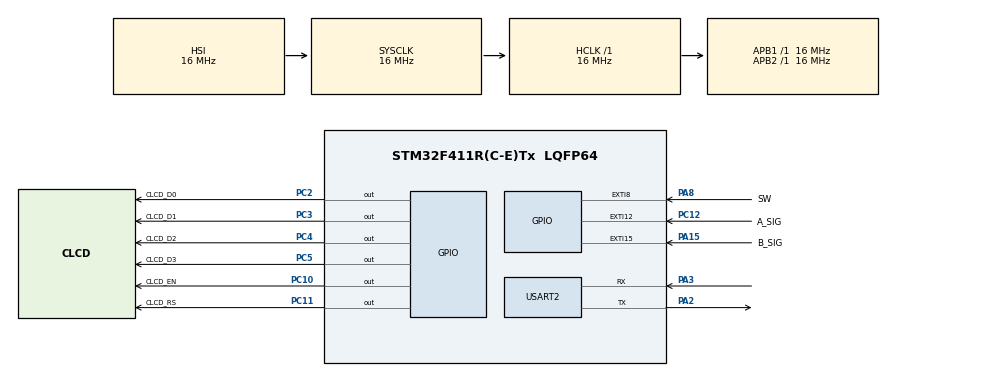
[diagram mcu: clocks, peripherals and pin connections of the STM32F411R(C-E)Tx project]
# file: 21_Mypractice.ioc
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Mcu.Family=STM32F4
Mcu.Name=STM32F411R(C-E)Tx
Mcu.Package=LQFP64
NVIC.EXTI15_10_IRQn=true\:0\:0\:false\:false\:true\:true\:true\:true
NVIC.EXTI9_5_IRQn=true\:0\:0\:false\:false\:true\:true\:true\:true
NVIC.PriorityGroup=NVIC_PRIORITYGROUP_4
PA13.Mode=Serial_Wire
PA13.Signal=SYS_JTMS-SWDIO
PA14.Mode=Serial_Wire
PA14.Signal=SYS_JTCK-SWCLK
PA15.GPIO_Label=B_SIG
PA15.GPIO_ModeDefaultEXTI=GPIO_MODE_IT_RISING
PA15.Signal=GPXTI15
PA2.Mode=Asynchronous
PA2.Signal=USART2_TX
PA3.Mode=Asynchronous
PA3.Signal=USART2_RX
PA8.GPIO_Label=SW
PA8.GPIO_ModeDefaultEXTI=GPIO_MODE_IT_FALLING
PA8.Signal=GPXTI8
PC10.GPIO_Label=CLCD_EN
PC10.Signal=GPIO_Output
PC11.GPIO_Label=CLCD_RS
PC11.Signal=GPIO_Output
PC12.GPIO_Label=A_SIG
PC12.GPIO_ModeDefaultEXTI=GPIO_MODE_IT_RISING
PC12.Signal=GPXTI12
PC2.GPIO_Label=CLCD_D0
PC2.Signal=GPIO_Output
PC3.GPIO_Label=CLCD_D1
PC3.Signal=GPIO_Output
PC4.GPIO_Label=CLCD_D2
PC4.Signal=GPIO_Output
PC5.GPIO_Label=CLCD_D3
PC5.Signal=GPIO_Output
ProjectManager.HeapSize=0x200
ProjectManager.StackSize=0x400
ProjectManager.TargetToolchain=STM32CubeIDE
RCC.AHBFreq_Value=16000000
RCC.APB1Freq_Value=16000000
RCC.APB2Freq_Value=16000000
RCC.CortexFreq_Value=16000000
RCC.HSE_VALUE=25000000
RCC.HSI_VALUE=16000000
RCC.LSE_VALUE=32768
RCC.SYSCLKFreq_VALUE=16000000
RCC.VCOOutputFreq_Value=192000000
USART2.VirtualMode=VM_ASYNC
board=custom

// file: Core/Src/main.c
/* USER CODE BEGIN Header */
/**
  ******************************************************************************
  * @file           : main.c
  * @brief          : Main program body
  ******************************************************************************
  * @attention
  *
  * Copyright (c) 2024 STMicroelectronics.
  * All rights reserved.
  *
  * This software is licensed under terms that can be found in the LICENSE file
  * in the root directory of this software component.
  * If no LICENSE file comes with this software, it is provided AS-IS.
  *
  ******************************************************************************
  */
/* USER CODE END Header */
#include "main.h"

/* USER CODE BEGIN Includes */
#include <stdio.h>
#include "clcd\clcd.h"
/* USER CODE END Includes */

UART_HandleTypeDef huart2;

/* USER CODE BEGIN PV */
char count = 0;
volatile int gEnCoderCnt;
/* USER CODE END PV */

void SystemClock_Config(void);
static void MX_GPIO_Init(void);
static void MX_USART2_UART_Init(void);

int main(void)
{

  /* MCU Configuration--------------------------------------------------------*/

  /* Reset of all peripherals, Initializes the Flash interface and the Systick. */
  HAL_Init();

  /* Configure the system clock */
  SystemClock_Config();

  /* Initialize all configured peripherals */
  MX_GPIO_Init();
  MX_USART2_UART_Init();
  /* USER CODE BEGIN 2 */
  CLCD_Init (16, 2);
  HAL_Delay (1000);
  /* USER CODE END 2 */

  /* Infinite loop */
  /* USER CODE BEGIN WHILE */
  int preEncoderCnt = 0;
  CLCD_Clear ();

  char sBuf[16] = { 0 };

  while (1)
  {
	  if (preEncoderCnt != gEnCoderCnt)
		  {
			preEncoderCnt = gEnCoderCnt;
		  }
      sprintf (sBuf, "Count Num = %3d", preEncoderCnt);
      CLCD_Puts (0, 1, sBuf);
    /* USER CODE END WHILE */

  }
}

void SystemClock_Config(void)
{
  RCC_OscInitTypeDef RCC_OscInitStruct = {0};
  RCC_ClkInitTypeDef RCC_ClkInitStruct = {0};

  /** Configure the main internal regulator output voltage
  */
  __HAL_RCC_PWR_CLK_ENABLE();
  __HAL_PWR_VOLTAGESCALING_CONFIG(PWR_REGULATOR_VOLTAGE_SCALE1);

  /** Initializes the RCC Oscillators according to the specified parameters
  * in the RCC_OscInitTypeDef structure.
  */
  RCC_OscInitStruct.OscillatorType = RCC_OSCILLATORTYPE_HSI;
  RCC_OscInitStruct.HSIState = RCC_HSI_ON;
  RCC_OscInitStruct.HSICalibrationValue = RCC_HSICALIBRATION_DEFAULT;
  RCC_OscInitStruct.PLL.PLLState = RCC_PLL_NONE;
  if (HAL_RCC_OscConfig(&RCC_OscInitStruct) != HAL_OK)
  {
    Error_Handler();
  }

  /** Initializes the CPU, AHB and APB buses clocks
  */
  RCC_ClkInitStruct.ClockType = RCC_CLOCKTYPE_HCLK|RCC_CLOCKTYPE_SYSCLK
                              |RCC_CLOCKTYPE_PCLK1|RCC_CLOCKTYPE_PCLK2;
  RCC_ClkInitStruct.SYSCLKSource = RCC_SYSCLKSOURCE_HSI;
  RCC_ClkInitStruct.AHBCLKDivider = RCC_SYSCLK_DIV1;
  RCC_ClkInitStruct.APB1CLKDivider = RCC_HCLK_DIV1;
  RCC_ClkInitStruct.APB2CLKDivider = RCC_HCLK_DIV1;

  if (HAL_RCC_ClockConfig(&RCC_ClkInitStruct, FLASH_LATENCY_0) != HAL_OK)
  {
    Error_Handler();
  }
}

static void MX_USART2_UART_Init(void)
{

  huart2.Instance = USART2;
  huart2.Init.BaudRate = 115200;
  huart2.Init.WordLength = UART_WORDLENGTH_8B;
  huart2.Init.StopBits = UART_STOPBITS_1;
  huart2.Init.Parity = UART_PARITY_NONE;
  huart2.Init.Mode = UART_MODE_TX_RX;
  huart2.Init.HwFlowCtl = UART_HWCONTROL_NONE;
  huart2.Init.OverSampling = UART_OVERSAMPLING_16;
  if (HAL_UART_Init(&huart2) != HAL_OK)
  {
    Error_Handler();
  }

}

static void MX_GPIO_Init(void)
{
  GPIO_InitTypeDef GPIO_InitStruct = {0};

  /* GPIO Ports Clock Enable */
  __HAL_RCC_GPIOC_CLK_ENABLE();
  __HAL_RCC_GPIOA_CLK_ENABLE();

  /*Configure GPIO pin Output Level */
  HAL_GPIO_WritePin(GPIOC, CLCD_D0_Pin|CLCD_D1_Pin|CLCD_D2_Pin|CLCD_D3_Pin
                          |CLCD_EN_Pin|CLCD_RS_Pin, GPIO_PIN_RESET);

  /*Configure GPIO pins : CLCD_D0_Pin CLCD_D1_Pin CLCD_D2_Pin CLCD_D3_Pin
                           CLCD_EN_Pin CLCD_RS_Pin */
  GPIO_InitStruct.Pin = CLCD_D0_Pin|CLCD_D1_Pin|CLCD_D2_Pin|CLCD_D3_Pin
                          |CLCD_EN_Pin|CLCD_RS_Pin;
  GPIO_InitStruct.Mode = GPIO_MODE_OUTPUT_PP;
  GPIO_InitStruct.Pull = GPIO_NOPULL;
  GPIO_InitStruct.Speed = GPIO_SPEED_FREQ_LOW;
  HAL_GPIO_Init(GPIOC, &GPIO_InitStruct);

  /*Configure GPIO pin : SW_Pin */
  GPIO_InitStruct.Pin = SW_Pin;
  GPIO_InitStruct.Mode = GPIO_MODE_IT_FALLING;
  GPIO_InitStruct.Pull = GPIO_NOPULL;
  HAL_GPIO_Init(SW_GPIO_Port, &GPIO_InitStruct);

  /*Configure GPIO pin : B_SIG_Pin */
  GPIO_InitStruct.Pin = B_SIG_Pin;
  GPIO_InitStruct.Mode = GPIO_MODE_IT_RISING;
  GPIO_InitStruct.Pull = GPIO_NOPULL;
  HAL_GPIO_Init(B_SIG_GPIO_Port, &GPIO_InitStruct);

  /*Configure GPIO pin : A_SIG_Pin */
  GPIO_InitStruct.Pin = A_SIG_Pin;
  GPIO_InitStruct.Mode = GPIO_MODE_IT_RISING;
  GPIO_InitStruct.Pull = GPIO_NOPULL;
  HAL_GPIO_Init(A_SIG_GPIO_Port, &GPIO_InitStruct);

  /* EXTI interrupt init*/
  HAL_NVIC_SetPriority(EXTI9_5_IRQn, 0, 0);
  HAL_NVIC_EnableIRQ(EXTI9_5_IRQn);

  HAL_NVIC_SetPriority(EXTI15_10_IRQn, 0, 0);
  HAL_NVIC_EnableIRQ(EXTI15_10_IRQn);

}

/* USER CODE BEGIN 4 */
void HAL_GPIO_EXTI_Callback(uint16_t GPIO_Pin)
{
	switch (GPIO_Pin)
		    {
		    case GPIO_PIN_8:	// SW_Pin
		      gEnCoderCnt = 0;
		      break;

		    case GPIO_PIN_12:	// A_SIG_Pin
		      if (!HAL_GPIO_ReadPin (B_SIG_GPIO_Port, B_SIG_Pin))
		        gEnCoderCnt++;
		      break;

		    case GPIO_PIN_15:	// B_SIG_Pin
		      if (!HAL_GPIO_ReadPin (A_SIG_GPIO_Port, A_SIG_Pin))
		        gEnCoderCnt--;
		      break;

		    default:
		      ;
		    }
}
/* USER CODE END 4 */

void Error_Handler(void)
{
  __disable_irq();
  while (1)
  {
  }
}
